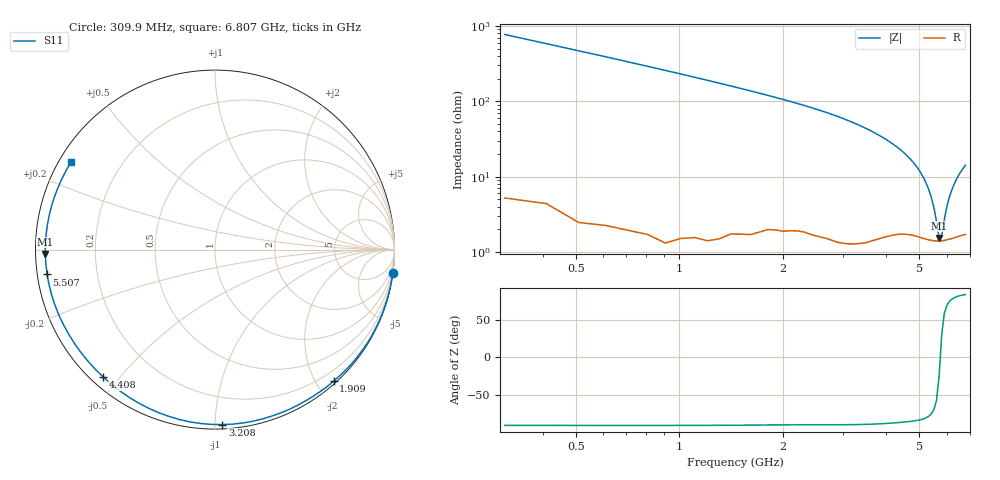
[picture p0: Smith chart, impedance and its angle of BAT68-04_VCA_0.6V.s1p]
! Infineon Technologies  Discrete & RF Semiconductors
! BAT68-04
! VCA = 0.6 V
! One-Port S-Parameters
# Hz  S  MA  R  50
!f  S11
!Hz  Mag  Ang
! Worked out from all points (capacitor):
!   66 points, 309.9 MHz to 6.807 GHz, reference 50 ohm
!   read as one part to ground: C = 663 fF near 309.9 MHz
!   lowest |Z| = 1.53 ohm at 5.707 GHz (marker M1)
!   series resonance near 5.751 GHz, so ESL is about 1.2 nH
!   S11 on the Smith chart (normalised r, x): 309.9 MHz: 0, -15; 1.909 GHz: 0.04, -2.25; 3.208 GHz: 0.03, -1.04; 4.408 GHz: 0.03, -0.45; 5.507 GHz: 0.03, -0.07; 6.807 GHz: 0.03, +0.28
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3.0985e8  0.9991 -7.4
6.097e8  0.9986 -14.6
8.096e8  0.998 -19.5
1.2094e9  0.9963 -29.5
1.6092e9  0.9921 -39.9
1.90905e9  0.9872 -48.0
2.009e9  0.9863 -50.7
2.30885e9  0.9823 -59.1
2.50875e9  0.9814 -65.0
2.8086e9  0.9798 -74.3
3.0085e9  0.9784 -80.8
3.2084e9  0.9758 -87.6
3.4083e9  0.9721 -94.7
3.6082e9  0.9671 -101.8
3.8081e9  0.9611 -109.2
4.008e9  0.9549 -116.5
4.2079e9  0.949 -123.9
4.4078e9  0.9444 -131.3
4.6077e9  0.9419 -138.7
4.8076e9  0.9413 -146.1
5.0075e9  0.9422 -153.5
5.2074e9  0.9438 -160.8
5.50725e9  0.9458 -171.6
5.70715e9  0.946 -178.5
6.007e9  0.944 171.6
6.2069e9  0.9426 165.4
6.4068e9  0.9407 159.5
6.8066e9  0.9386 148.6
